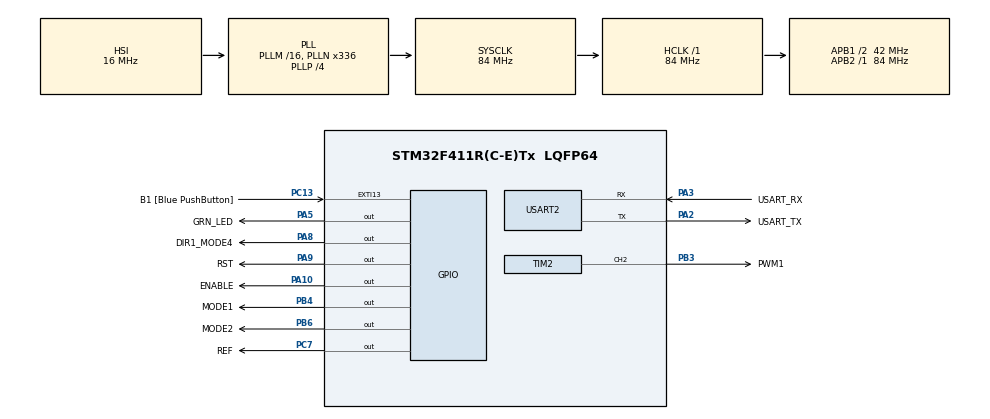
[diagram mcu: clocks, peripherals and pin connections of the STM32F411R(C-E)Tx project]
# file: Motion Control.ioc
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Mcu.Family=STM32F4
Mcu.Name=STM32F411R(C-E)Tx
Mcu.Package=LQFP64
NVIC.PriorityGroup=NVIC_PRIORITYGROUP_0
NVIC.TIM3_IRQn=true\:0\:0\:false\:false\:true\:true\:true
PA10.GPIO_Label=ENABLE
PA10.GPIO_ModeDefaultOutputPP=GPIO_MODE_OUTPUT_OD
PA10.PinState=GPIO_PIN_SET
PA10.Signal=GPIO_Output
PA13.Mode=Serial_Wire
PA13.Signal=SYS_JTMS-SWDIO
PA14.Mode=Serial_Wire
PA14.Signal=SYS_JTCK-SWCLK
PA2.GPIO_Label=USART_TX
PA2.Mode=Asynchronous
PA2.Signal=USART2_TX
PA3.GPIO_Label=USART_RX
PA3.Mode=Asynchronous
PA3.Signal=USART2_RX
PA5.GPIO_Label=GRN_LED
PA5.Signal=GPIO_Output
PA8.GPIO_Label=DIR1_MODE4
PA8.Signal=GPIO_Output
PA9.GPIO_Label=RST
PA9.GPIO_ModeDefaultOutputPP=GPIO_MODE_OUTPUT_OD
PA9.PinState=GPIO_PIN_SET
PA9.Signal=GPIO_Output
PB3.GPIO_Label=PWM1
PB3.Signal=S_TIM2_CH2
PB4.GPIO_Label=MODE1
PB4.Signal=GPIO_Output
PB6.GPIO_Label=MODE2
PB6.Signal=GPIO_Output
PC13-ANTI_TAMP.GPIO_Label=B1 [Blue PushButton]
PC13-ANTI_TAMP.GPIO_ModeDefaultEXTI=GPIO_MODE_IT_FALLING
PC13-ANTI_TAMP.Signal=GPXTI13
PC14-OSC32_IN.Mode=LSE-External-Oscillator
PC14-OSC32_IN.Signal=RCC_OSC32_IN
PC15-OSC32_OUT.Mode=LSE-External-Oscillator
PC15-OSC32_OUT.Signal=RCC_OSC32_OUT
PC7.GPIO_Label=REF
PC7.Signal=GPIO_Output
PH0\ -\ OSC_IN.Mode=HSE-External-Clock-Source
PH0\ -\ OSC_IN.Signal=RCC_OSC_IN
PH1\ -\ OSC_OUT.Mode=HSE-External-Clock-Source
PH1\ -\ OSC_OUT.Signal=RCC_OSC_OUT
ProjectManager.HeapSize=0x200
ProjectManager.StackSize=0x400
ProjectManager.TargetToolchain=EWARM V8.32
RCC.48MHZClocksFreq_Value=84000000
RCC.AHBFreq_Value=84000000
RCC.APB1CLKDivider=RCC_HCLK_DIV2
RCC.APB1Freq_Value=42000000
RCC.APB1TimFreq_Value=84000000
RCC.APB2Freq_Value=84000000
RCC.APB2TimFreq_Value=84000000
RCC.CortexFreq_Value=84000000
RCC.FLatency-AdvancedSettings=FLASH_LATENCY_2
RCC.HCLKFreq_Value=84000000
RCC.HSE_VALUE=8000000
RCC.HSI_VALUE=16000000
RCC.PLLN=336
RCC.PLLP=RCC_PLLP_DIV4
RCC.SYSCLKFreq_VALUE=84000000
RCC.SYSCLKSource=RCC_SYSCLKSOURCE_PLLCLK
RCC.VCOOutputFreq_Value=336000000
SH.S_TIM2_CH2.0=TIM2_CH2,PWM Generation2 CH2
TIM2.Channel-PWM\ Generation2\ CH2=TIM_CHANNEL_2
TIM2.Period=23
TIM2.Prescaler=19999
TIM3.Period=3124
TIM3.Prescaler=1343
USART2.VirtualMode=VM_ASYNC
VP_TIM2_VS_ClockSourceINT.Mode=Internal
VP_TIM3_VS_ClockSourceINT.Mode=Internal
board=NUCLEO-F411RE

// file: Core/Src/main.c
/* USER CODE BEGIN Header */
/**
  ******************************************************************************
  * @file           : main.c
  * @brief          : Main program body
  ******************************************************************************
  * @attention
  *
  * <h2><center>&copy; Copyright (c) 2021 STMicroelectronics.
  * All rights reserved.</center></h2>
  *
  * This software component is licensed by ST under BSD 3-Clause license,
  * the "License"; You may not use this file except in compliance with the
  * License. You may obtain a copy of the License at:
  *                        opensource.org/licenses/BSD-3-Clause
  *
  ******************************************************************************
  */
/* USER CODE END Header */
#include "main.h"
#include <math.h>

/* USER CODE BEGIN PD */
#define TIM2PSCVal  19999  // SysClk 84MHz; 20000 PSC == 4.2KHz
#define TIM2BaseAddr 0x40000000
#define TIM2CNTReg *(uint32_t *) (TIM2BaseAddr + 0x24)
#define TIM2ARRReg *(uint32_t *) (TIM2BaseAddr + 0x2C)

#define MAX_ARR_VAL			  (34) // ARR value of 29 gives 42000/(29+1) = 1400 steps/sec = 400RPM
#define MAX_TIME			  (3000) //3000 ms of 3 sec
#define M_PI 3.14159265358979323846
/* USER CODE END PD */

/* USER CODE BEGIN PV */
TIM_HandleTypeDef htim2;
TIM_HandleTypeDef htim3;

UART_HandleTypeDef huart2;

static double* x_values; // array for x axis
static double* y_values; // array for calculated y axis values
static double arrLookupTable[121]; // array for calculated arr-value from y axis

static double max_y; // max value of y axis array
static uint8_t max_y_index; // index of max y value
static double max_x; // corresponding x value of max y value
static uint8_t num_of_values; // total number of values on y axis

static uint8_t phase;
static uint8_t step_index;
/* USER CODE END PV */

void SystemClock_Config(void);
static void MX_GPIO_Init(void);
static void MX_TIM2_Init(void);
static void MX_USART2_UART_Init(void);
static void MX_TIM3_Init(void);

static double pdf(double x);
static void update_max_values(double x_min, double x_max, double step);
static void generate_bell_curve(double x_min, double x_max, double step);
static double CalculateARRVal(double y);

int main(void)
{

  /* MCU Configuration--------------------------------------------------------*/

  /* Reset of all peripherals, Initializes the Flash interface and the Systick. */
  HAL_Init();

  /* Configure the system clock */
  SystemClock_Config();

  /* Initialize all configured peripherals */
  MX_GPIO_Init();
  MX_TIM2_Init();
  MX_USART2_UART_Init();
  MX_TIM3_Init();
  /* USER CODE BEGIN 2 */
  update_max_values(-2.925, 2.925, 0.048347);
  generate_bell_curve(-2.925, 2.925, 0.048347);

  HAL_TIM_Base_Start_IT(&htim2);
  HAL_TIM_Base_Start_IT(&htim3);
  HAL_TIM_PWM_Start(&htim2, TIM_CHANNEL_2);
  /* USER CODE END 2 */

  /* Infinite loop */
  while (1)
  {

    /* USER CODE BEGIN 3 */

    /* USER CODE BEGIN 3 */
  }
  /* USER CODE END 3 */
}

void SystemClock_Config(void)
{
  RCC_OscInitTypeDef RCC_OscInitStruct = {0};
  RCC_ClkInitTypeDef RCC_ClkInitStruct = {0};

  /** Configure the main internal regulator output voltage
  */
  __HAL_RCC_PWR_CLK_ENABLE();
  __HAL_PWR_VOLTAGESCALING_CONFIG(PWR_REGULATOR_VOLTAGE_SCALE1);
  /** Initializes the RCC Oscillators according to the specified parameters
  * in the RCC_OscInitTypeDef structure.
  */
  RCC_OscInitStruct.OscillatorType = RCC_OSCILLATORTYPE_HSI;
  RCC_OscInitStruct.HSIState = RCC_HSI_ON;
  RCC_OscInitStruct.HSICalibrationValue = RCC_HSICALIBRATION_DEFAULT;
  RCC_OscInitStruct.PLL.PLLState = RCC_PLL_ON;
  RCC_OscInitStruct.PLL.PLLSource = RCC_PLLSOURCE_HSI;
  RCC_OscInitStruct.PLL.PLLM = 16;
  RCC_OscInitStruct.PLL.PLLN = 336;
  RCC_OscInitStruct.PLL.PLLP = RCC_PLLP_DIV4;
  RCC_OscInitStruct.PLL.PLLQ = 4;
  if (HAL_RCC_OscConfig(&RCC_OscInitStruct) != HAL_OK)
  {
    Error_Handler();
  }
  /** Initializes the CPU, AHB and APB buses clocks
  */
  RCC_ClkInitStruct.ClockType = RCC_CLOCKTYPE_HCLK|RCC_CLOCKTYPE_SYSCLK
                              |RCC_CLOCKTYPE_PCLK1|RCC_CLOCKTYPE_PCLK2;
  RCC_ClkInitStruct.SYSCLKSource = RCC_SYSCLKSOURCE_PLLCLK;
  RCC_ClkInitStruct.AHBCLKDivider = RCC_SYSCLK_DIV1;
  RCC_ClkInitStruct.APB1CLKDivider = RCC_HCLK_DIV2;
  RCC_ClkInitStruct.APB2CLKDivider = RCC_HCLK_DIV1;

  if (HAL_RCC_ClockConfig(&RCC_ClkInitStruct, FLASH_LATENCY_2) != HAL_OK)
  {
    Error_Handler();
  }
}

static void MX_TIM2_Init(void)
{

  TIM_ClockConfigTypeDef sClockSourceConfig = {0};
  TIM_MasterConfigTypeDef sMasterConfig = {0};
  TIM_OC_InitTypeDef sConfigOC = {0};

  htim2.Instance = TIM2;
  htim2.Init.Prescaler = 1999;
  htim2.Init.CounterMode = TIM_COUNTERMODE_UP;
  htim2.Init.Period = 63;
  htim2.Init.ClockDivision = TIM_CLOCKDIVISION_DIV1;
  htim2.Init.AutoReloadPreload = TIM_AUTORELOAD_PRELOAD_DISABLE;
  if (HAL_TIM_Base_Init(&htim2) != HAL_OK)
  {
    Error_Handler();
  }
  sClockSourceConfig.ClockSource = TIM_CLOCKSOURCE_INTERNAL;
  if (HAL_TIM_ConfigClockSource(&htim2, &sClockSourceConfig) != HAL_OK)
  {
    Error_Handler();
  }
  if (HAL_TIM_PWM_Init(&htim2) != HAL_OK)
  {
    Error_Handler();
  }
  sMasterConfig.MasterOutputTrigger = TIM_TRGO_RESET;
  sMasterConfig.MasterSlaveMode = TIM_MASTERSLAVEMODE_DISABLE;
  if (HAL_TIMEx_MasterConfigSynchronization(&htim2, &sMasterConfig) != HAL_OK)
  {
    Error_Handler();
  }
  sConfigOC.OCMode = TIM_OCMODE_PWM1;
  sConfigOC.Pulse = 1;
  sConfigOC.OCPolarity = TIM_OCPOLARITY_HIGH;
  sConfigOC.OCFastMode = TIM_OCFAST_DISABLE;
  if (HAL_TIM_PWM_ConfigChannel(&htim2, &sConfigOC, TIM_CHANNEL_2) != HAL_OK)
  {
    Error_Handler();
  }
  HAL_TIM_MspPostInit(&htim2);

}

static void MX_TIM3_Init(void)
{

  TIM_ClockConfigTypeDef sClockSourceConfig = {0};
  TIM_MasterConfigTypeDef sMasterConfig = {0};

  htim3.Instance = TIM3;
  htim3.Init.Prescaler = 1343;
  htim3.Init.CounterMode = TIM_COUNTERMODE_UP;
  htim3.Init.Period = 3124;
  htim3.Init.ClockDivision = TIM_CLOCKDIVISION_DIV1;
  htim3.Init.AutoReloadPreload = TIM_AUTORELOAD_PRELOAD_DISABLE;
  if (HAL_TIM_Base_Init(&htim3) != HAL_OK)
  {
    Error_Handler();
  }
  sClockSourceConfig.ClockSource = TIM_CLOCKSOURCE_INTERNAL;
  if (HAL_TIM_ConfigClockSource(&htim3, &sClockSourceConfig) != HAL_OK)
  {
    Error_Handler();
  }
  sMasterConfig.MasterOutputTrigger = TIM_TRGO_RESET;
  sMasterConfig.MasterSlaveMode = TIM_MASTERSLAVEMODE_DISABLE;
  if (HAL_TIMEx_MasterConfigSynchronization(&htim3, &sMasterConfig) != HAL_OK)
  {
    Error_Handler();
  }

}

static void MX_USART2_UART_Init(void)
{

  huart2.Instance = USART2;
  huart2.Init.BaudRate = 115200;
  huart2.Init.WordLength = UART_WORDLENGTH_8B;
  huart2.Init.StopBits = UART_STOPBITS_1;
  huart2.Init.Parity = UART_PARITY_NONE;
  huart2.Init.Mode = UART_MODE_TX_RX;
  huart2.Init.HwFlowCtl = UART_HWCONTROL_NONE;
  huart2.Init.OverSampling = UART_OVERSAMPLING_16;
  if (HAL_UART_Init(&huart2) != HAL_OK)
  {
    Error_Handler();
  }

}

static void MX_GPIO_Init(void)
{
  GPIO_InitTypeDef GPIO_InitStruct = {0};

  /* GPIO Ports Clock Enable */
  __HAL_RCC_GPIOC_CLK_ENABLE();
  __HAL_RCC_GPIOH_CLK_ENABLE();
  __HAL_RCC_GPIOA_CLK_ENABLE();
  __HAL_RCC_GPIOB_CLK_ENABLE();

  /*Configure GPIO pin Output Level */
  HAL_GPIO_WritePin(GPIOA, GRN_LED_Pin|DIR1_MODE4_Pin, GPIO_PIN_RESET);

  /*Configure GPIO pin Output Level */
  HAL_GPIO_WritePin(REF_GPIO_Port, REF_Pin, GPIO_PIN_RESET);

  /*Configure GPIO pin Output Level */
  HAL_GPIO_WritePin(GPIOA, RST_Pin|ENABLE_Pin, GPIO_PIN_SET);

  /*Configure GPIO pin Output Level */
  HAL_GPIO_WritePin(GPIOB, MODE1_Pin|MODE2_Pin, GPIO_PIN_RESET);

  /*Configure GPIO pin : B1_Pin */
  GPIO_InitStruct.Pin = B1_Pin;
  GPIO_InitStruct.Mode = GPIO_MODE_IT_FALLING;
  GPIO_InitStruct.Pull = GPIO_NOPULL;
  HAL_GPIO_Init(B1_GPIO_Port, &GPIO_InitStruct);

  /*Configure GPIO pins : GRN_LED_Pin DIR1_MODE4_Pin */
  GPIO_InitStruct.Pin = GRN_LED_Pin|DIR1_MODE4_Pin;
  GPIO_InitStruct.Mode = GPIO_MODE_OUTPUT_PP;
  GPIO_InitStruct.Pull = GPIO_NOPULL;
  GPIO_InitStruct.Speed = GPIO_SPEED_FREQ_LOW;
  HAL_GPIO_Init(GPIOA, &GPIO_InitStruct);

  /*Configure GPIO pin : REF_Pin */
  GPIO_InitStruct.Pin = REF_Pin;
  GPIO_InitStruct.Mode = GPIO_MODE_OUTPUT_PP;
  GPIO_InitStruct.Pull = GPIO_NOPULL;
  GPIO_InitStruct.Speed = GPIO_SPEED_FREQ_LOW;
  HAL_GPIO_Init(REF_GPIO_Port, &GPIO_InitStruct);

  /*Configure GPIO pins : RST_Pin ENABLE_Pin */
  GPIO_InitStruct.Pin = RST_Pin|ENABLE_Pin;
  GPIO_InitStruct.Mode = GPIO_MODE_OUTPUT_OD;
  GPIO_InitStruct.Pull = GPIO_NOPULL;
  GPIO_InitStruct.Speed = GPIO_SPEED_FREQ_LOW;
  HAL_GPIO_Init(GPIOA, &GPIO_InitStruct);

  /*Configure GPIO pins : MODE1_Pin MODE2_Pin */
  GPIO_InitStruct.Pin = MODE1_Pin|MODE2_Pin;
  GPIO_InitStruct.Mode = GPIO_MODE_OUTPUT_PP;
  GPIO_InitStruct.Pull = GPIO_NOPULL;
  GPIO_InitStruct.Speed = GPIO_SPEED_FREQ_LOW;
  HAL_GPIO_Init(GPIOB, &GPIO_InitStruct);

}

double pdf(double x)
{
    //default mean = 0  , sigma = 1
    double mean = 0;
    double sigma = 1;
    double y = 0;

    y = ((1.0 / (sigma * (sqrt(2.0 * M_PI)))) * (exp((-(pow((x - mean), 2))) / (2 * pow(sigma, 2)))));
    return y;
}

void update_max_values(double x_min, double x_max, double step)
{
    double x = x_min;
    double y = 0;
    int c = 0;
    uint8_t found_max = 0;
    double prev_c = 0;
    double prev_x = 0;
    double prev_y = 0;
    double diff = 0;

    while (x <= x_max)
    {
        y = pdf(x);

        if (c == 0)
        {
            prev_c = c;
            prev_x = x;
            prev_y = y;
        }

        diff = y - prev_y;

        if ((diff < 0) && (found_max == 0))
        {
            max_y_index = prev_c;
            max_x = prev_x;
            max_y = prev_y;
            found_max = 1;
        }
        else
        {
            prev_c = c;
            prev_x = x;
            prev_y = y;
        }

        c = c + 1;
        x = x + step;

    }
    num_of_values = c;
}

void generate_bell_curve(double x_min, double x_max, double step)
{
    uint8_t i = 0;
    double x = x_min;
    double y = 0;
    double arrVal = 0;

    while (x <= x_max)
    {
        memcpy(&x_values[i], &x, sizeof(double));
        y = pdf(x);

        memcpy(&y_values[i], &y, sizeof(double));

        arrVal = CalculateARRVal(y);
        arrLookupTable[i] = arrVal;
        x = x + step;
        ++i;
    }
}

//Steps/sec = PWM_CLK_FREQ / (ARR + 1)
//  42000 / (ARR + 1)
//MAX_ARR_VAL = 34 = 1200 steps / sec = 360 RPM

double CalculateARRVal(double y)
{
    //The ARR value will increase as the bell-curve decreases.
    //Need to scale the arr value proportional to bell[x]/bell_max, but
    //  the shape must be inverted to get inverse relation of bell to arr.
    double arrVal = (MAX_ARR_VAL * (max_y / y)); // scaled by bell_max/bell[x] for inverted relation
    return arrVal;
}

/* USER CODE BEGIN 4 */
void HAL_TIM_PeriodElapsedCallback(TIM_HandleTypeDef* htim)
{
    static uint16_t tickCount50ms = 0;
    static uint16_t arrTableIndex = 0;

    uint16_t newArrVal = 0;

    if(60 > tickCount50ms++) // First 3 seconds AKA ramp-up stage
    {
        newArrVal = (uint16_t)arrLookupTable[arrTableIndex++];
    }
    else if(120 > tickCount50ms) // Middle 3 seconds AKA full-speed stage
    {
        newArrVal = (uint16_t)arrLookupTable[max_y_index];
    }
    else if(180 > tickCount50ms) // Remaining 3 seconds AKA ramp-down stage
    {
        newArrVal = (uint16_t)arrLookupTable[arrTableIndex++];
    }
    else if (200 == tickCount50ms) // One-second break in between to distinguish start/end
    {
        arrTableIndex = tickCount50ms = 0;
    }

    //This is where the PWM period is updated
    TIM2ARRReg = newArrVal;
    TIM2CNTReg = 0;

    HAL_GPIO_TogglePin(GPIOA, GRN_LED_Pin); //Toggle on-board LED
}

/* USER CODE END 4 */

void Error_Handler(void)
{
}

/************************ (C) COPYRIGHT STMicroelectronics *****END OF FILE****/
